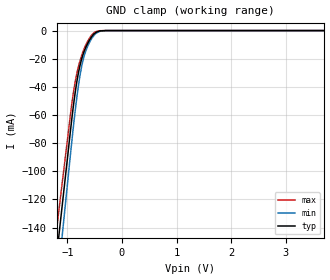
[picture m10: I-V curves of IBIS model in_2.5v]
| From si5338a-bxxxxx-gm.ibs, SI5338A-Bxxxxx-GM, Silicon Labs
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[Model]   in_2.5v
Model_type Input
Vinl = 750.000mV
Vinh = 1.7500V
C_comp   1.130E-12   0.741E-12   1.200E-12
[Voltage Range]   2.500E+00   2.250E+00   2.750E+00
[POWER Clamp Reference]   2.500E+00   2.250E+00   2.750E+00
[GND Clamp Reference]   0.000E+00   0.000E+00   0.000E+00
[Temperature Range]   25   85   -40
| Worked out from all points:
|   GND clamp passes 1 mA (typ) near -0.46 V on its own axis
[GND Clamp]
-2.5V     -616.7mA   -680.4mA   -559.3mA
-1.02V    -97.76mA   -116.8mA   -83.99mA
-920mV    -62.86mA   -78.84mA   -52.15mA
-880mV    -50.34mA   -64.57mA   -41.49mA
-820mV    -34.62mA   -45.27mA   -29.1mA
-760mV    -23.25mA   -29.77mA   -20.28mA
-720mV    -17.76mA   -22.05mA   -15.58mA
-660mV    -11.66mA   -14.17mA   -9.995mA
-560mV    -4.558mA   -5.949mA   -3.417mA
-480mV    -1.392mA   -2.162mA   -811.7uA
-300mV    0A         0A         0A
5V        0A         0A         0A
